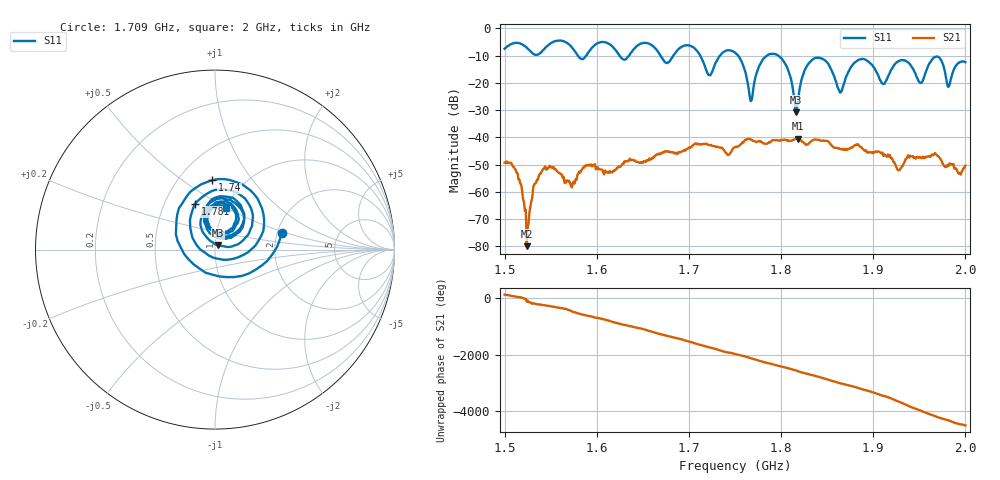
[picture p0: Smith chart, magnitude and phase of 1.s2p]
! NanoVNA-App by SYSJOINT et al v1.1.209 (+OD18)
! Date: 2026-01-21 14:26:29
! Start: 1,5GHz Stop: 2GHz Points: 501
! S-Parameter data: F S11 S21 S12 S22
# Hz S RI R 50
!  Frequency  S11_Real  S11_Imag  S21_Real  S21_Imag  S12_Real  S12_Imag  S22_Real  S22_Imag
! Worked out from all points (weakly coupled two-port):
!   501 points, 1.5 GHz to 2 GHz, reference 50 ohm
!   highest |S21| = -40.54 dB at 1.818 GHz (marker M1); lowest = -80.0 dB at 1.524 GHz (marker M2)
!   lowest |S11| = -30.8 dB at 1.816 GHz (marker M3), VSWR 1.06, Z = 51.5 + j2.48 ohm
!   |S11| at or under -10 dB: 1.712 GHz to 1.734 GHz (21.64 MHz wide, 1.26 % of centre); 1.753 GHz to 1.785 GHz (31.5 MHz wide, 1.78 % of centre); 1.797 GHz to end of sweep (the widest 3 of 6)
!   S12 and S22 are empty: the file has one direction only
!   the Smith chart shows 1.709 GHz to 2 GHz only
!   S11 on the Smith chart (normalised r, x): 1.709 GHz: 2.11, +0.46; 1.74 GHz: 0.72, +0.66; 1.781 GHz: 0.71, +0.39; 2 GHz: 1.01, +0.49
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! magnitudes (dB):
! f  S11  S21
! 1.5 GHz  -7.5  -49.4
! 1.514 GHz  -5.3  -53.2
! 1.524 GHz  -7.1  -80.0
! 1.542 GHz  -8.0  -51.5
! 1.584 GHz  -11.3  -51.8
! 1.667 GHz  -8.9  -46.0
! 1.709 GHz  -8.4  -42.6
! 1.722 GHz  -17.1  -42.8
! 1.74 GHz  -8.2  -45.7
! 1.75 GHz  -8.9  -43.6
! 1.767 GHz  -26.7  -40.8
! 1.781 GHz  -11.1  -42.3
! 1.802 GHz  -11.8  -41.0
! 1.816 GHz  -30.8  -40.6
! 1.818 GHz  -27.3  -40.5
! 1.834 GHz  -11.5  -41.1
! 1.864 GHz  -23.6  -44.2
! 1.886 GHz  -11.4  -43.5
! 1.917 GHz  -17.0  -47.1
! 1.969 GHz  -10.4  -46.4
! 1.982 GHz  -21.4  -50.5
! 2 GHz  -12.4  -50.4
